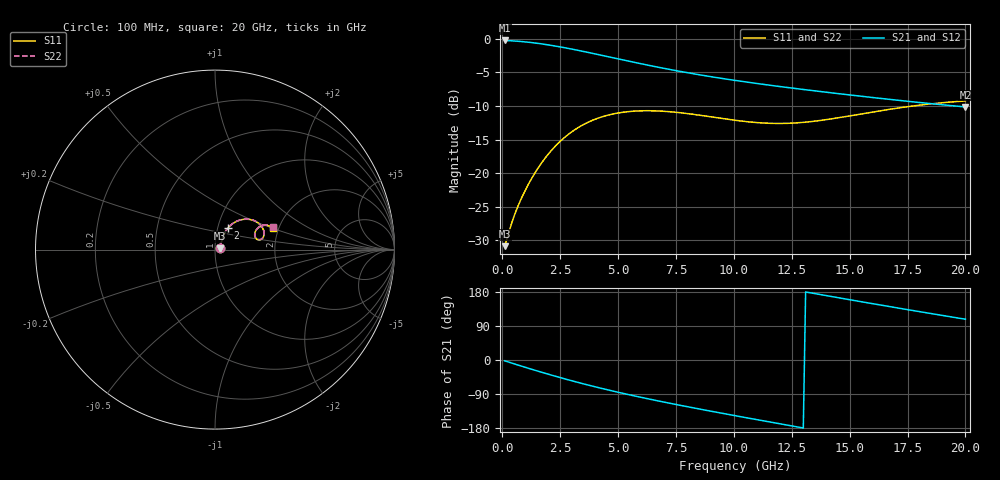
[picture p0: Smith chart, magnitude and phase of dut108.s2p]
! Touchstone file exported from HFSS 2024.1.0
!  File:  C:/UserFiles/LocalFiles/RDL_TSV_Batchsim/temp_RDL_TSV_108_1779421536.aedt
!  Generated:  12:02:02 PM May 22, 2026
!  Design:  RDL_TSV
!  Project:  temp_RDL_TSV_108_1779421536
!  Setup:  Setup1
!  Solution:  Sweep
! Variables:
!  dtsv = 8.42um
!  hbump = 3um
!  htsv = 50.83um
!  ldown = 527.31um
!  lrdl = 634.59um
!  p = 40
!  p1 = 43.24um
!  rhole = 10um
!  subl = 4120.29um
!  t = 450um
!  tdown = 2.42um
!  trdl = 3.15um
!  viad = 10um
!  wdown = 15.82um
!  wrdl = 22.47um
!  xbump = 18um
# GHz S MA R 50.000000
! Terminal data exported
! Port[1] = TM1_1_T1
! Port[2] = TM1_4_T1
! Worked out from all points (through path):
!   200 points, 100 MHz to 20 GHz, reference 50 ohm
!   highest |S21| = -0.24 dB at 100 MHz (marker M1); lowest = -10.1 dB at 20 GHz (marker M2)
!   group delay of S21, straight-line fit = 33.5 ps
!   lowest |S11| = -30.9 dB at 100 MHz (marker M3), VSWR 1.06, Z = 52.8 + j0.802 ohm
!   |S11| at or under -10 dB: start of sweep to 17.75 GHz
!   |S22| runs from -30.9 to -9.2 dB; largest |S21 - S12| = 4.6e-14
!   S11 on the Smith chart (normalised r, x): 100 MHz: 1.06, +0.02; 2 GHz: 1.12, +0.27; 20 GHz: 1.86, +0.51
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0.1  0.02853 15.4  0.9724 -2.0  0.9724 -2.0  0.02853 15.4
! Gamma 0 0 0 0
! Port Impedance 50 0 50 0
0.5  0.04725 45.2  0.9642 -9.9  0.9642 -9.9  0.04724 45.2
0.9  0.06906 55.0  0.9521 -17.6  0.9521 -17.6  0.06904 55.1
1.4  0.09964 59.6  0.9317 -26.9  0.9317 -26.9  0.09962 59.7
2  0.1394 59.1  0.9006 -37.8  0.9006 -37.8  0.1394 59.2
2.7  0.185 54.5  0.8582 -49.8  0.8582 -49.8  0.1851 54.6
3.1  0.2086 50.9  0.8322 -56.5  0.8322 -56.5  0.2088 51.1
3.5  0.2296 47.1  0.8058 -62.9  0.8058 -62.9  0.2299 47.2
4.2  0.2588 40.2  0.7596 -73.6  0.7596 -73.6  0.2592 40.4
4.9  0.2781 33.6  0.7152 -83.7  0.7152 -83.7  0.2787 33.9
5.8  0.29 26.2  0.6625 -96.0  0.6625 -96.0  0.2907 26.5
6.8  0.2897 19.7  0.6111 -108.8  0.6111 -108.8  0.2906 19.9
7.6  0.2825 15.8  0.5752 -118.6  0.5752 -118.6  0.2834 16.1
8.4  0.2716 13.3  0.5438 -128.1  0.5438 -128.1  0.2726 13.6
9.2  0.2594 12.3  0.5161 -137.3  0.5161 -137.3  0.2604 12.6
10.1  0.2467 12.7  0.4887 -147.4  0.4887 -147.4  0.2478 13.0
11.7  0.2344 17.0  0.4476 -165.2  0.4476 -165.2  0.2356 17.4
13.4  0.2425 23.2  0.4114 176.3  0.4114 176.3  0.244 23.5
15.1  0.2683 26.6  0.3801 158.0  0.3801 158.0  0.2701 27.0
16.7  0.298 26.6  0.3543 141.2  0.3543 141.2  0.3001 26.9
18.3  0.3246 24.3  0.3316 124.7  0.3316 124.7  0.327 24.6
20  0.3444 20.6  0.3109 107.6  0.3109 107.6  0.3471 20.9
